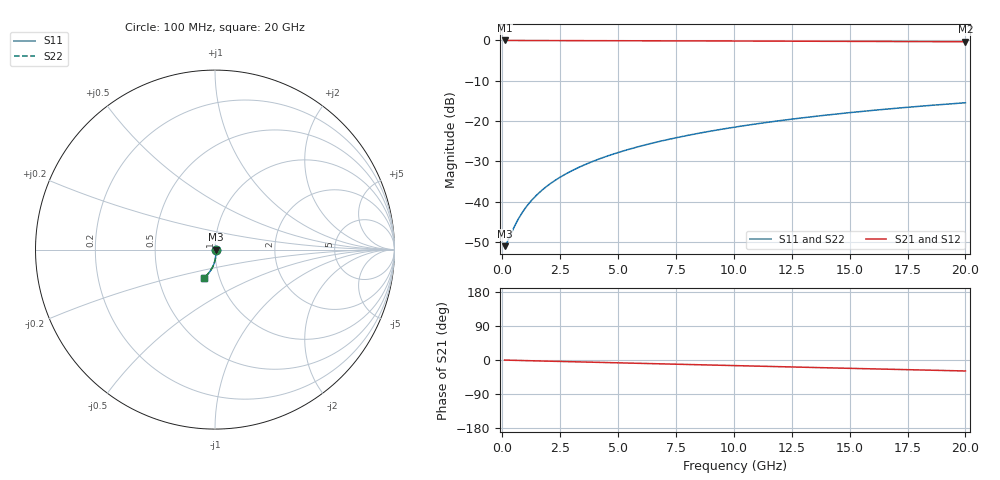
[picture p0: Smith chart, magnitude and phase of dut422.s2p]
! Touchstone file exported from HFSS 2026.1.0
!  File:  C:/ffzhzh/LocalFiles/Ansys_Project_Files/temp_train_TMRDL_422_1783005309_55676.aedt
!  Generated:  11:16:24 PM Jul  2, 2026
!  Design:  TMRDL
!  Project:  temp_train_TMRDL_422_1783005309_55676
! Variables:
!  h_bsmrdl = 2um
!  h_ox = 20um
!  h_rdl = 5um
!  h_sub = 80um
!  h_tmrdl = 3.29um
!  h_tsv = 80um
!  h_via = 3um
!  l_bsmrdl = 300um
!  l_sub = 875.14um
!  l_tmrdl = 475.14um
!  m_sub = 200um
!  pitch = 21.76um
!  r_tsv = 6um
!  s_tmrdl = 10um
!  w_bsmrdl = 18um
!  w_sub = 500um
!  w_tmrdl = 20.28um
!  x_tsv_center1 = 485.28um
!  x_tsv_center2 = 803.28um
!  x_tsv_center3 = 1298.7um
!  x_tsv_center4 = 1616.7um
!  x_tsv_center5 = 2112.12um
!  x_tsv_center6 = 2430.12um
# GHz S MA R 50.000000
! Terminal data exported
! Port[1] = TM_RDL1_1_T1
! Port[2] = TM_RDL1_1_T2
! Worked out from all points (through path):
!   200 points, 100 MHz to 20 GHz, reference 50 ohm
!   highest |S21| = -0.02 dB at 100 MHz (marker M1); lowest = -0.3 dB at 20 GHz (marker M2)
!   group delay of S21, straight-line fit = 4.01 ps
!   lowest |S11| = -51.1 dB at 100 MHz (marker M3), VSWR 1.01, Z = 50.3 - j0.0173 ohm
!   |S11| at or under -10 dB: start of sweep to end of sweep
!   |S22| runs from -51.1 to -15.5 dB; largest |S21 - S12| = 2.2e-15
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0.1  0.0028 -3.5  0.9972 -0.2  0.9972 -0.2  0.0028 -3.5
! Gamma 0 0 0 0
! Port Impedance 50 0 50 0
0.2  0.00311 -8.2  0.9969 -0.4  0.9969 -0.4  0.003109 -8.2
0.5  0.004757 -26.5  0.9957 -0.9  0.9957 -0.9  0.004757 -26.5
0.6  0.005429 -32.2  0.9954 -1.0  0.9954 -1.0  0.005428 -32.2
0.8  0.006853 -41.9  0.9948 -1.3  0.9948 -1.3  0.006852 -41.9
0.9  0.00759 -45.9  0.9946 -1.5  0.9946 -1.5  0.00759 -45.9
1.1  0.009096 -52.4  0.9942 -1.8  0.9942 -1.8  0.009095 -52.4
1.4  0.0114 -59.7  0.9938 -2.2  0.9938 -2.2  0.0114 -59.7
1.8  0.01453 -66.2  0.9934 -2.8  0.9934 -2.8  0.01453 -66.2
2.3  0.01849 -71.6  0.9929 -3.5  0.9929 -3.5  0.01849 -71.6
2.9  0.02331 -76.0  0.9924 -4.4  0.9924 -4.4  0.0233 -76.0
3.5  0.02818 -79.1  0.9918 -5.3  0.9918 -5.3  0.02817 -79.1
4.2  0.03393 -81.9  0.9909 -6.4  0.9909 -6.4  0.03392 -81.9
5  0.04059 -84.4  0.9899 -7.6  0.9899 -7.6  0.04058 -84.4
5.9  0.04818 -86.7  0.9886 -8.9  0.9886 -8.9  0.04817 -86.7
6.8  0.05586 -88.7  0.9873 -10.2  0.9873 -10.2  0.05585 -88.8
8.4  0.06967 -91.9  0.9847 -12.6  0.9847 -12.6  0.06966 -92.0
10.1  0.08447 -95.1  0.9817 -15.0  0.9817 -15.0  0.08445 -95.1
11.7  0.09842 -97.9  0.9787 -17.3  0.9787 -17.3  0.09839 -97.9
13.4  0.1132 -100.7  0.9755 -19.7  0.9755 -19.7  0.1131 -100.8
16.7  0.1412 -106.1  0.9688 -24.4  0.9688 -24.4  0.1412 -106.2
20  0.1683 -111.3  0.9617 -29.0  0.9617 -29.0  0.1682 -111.3
